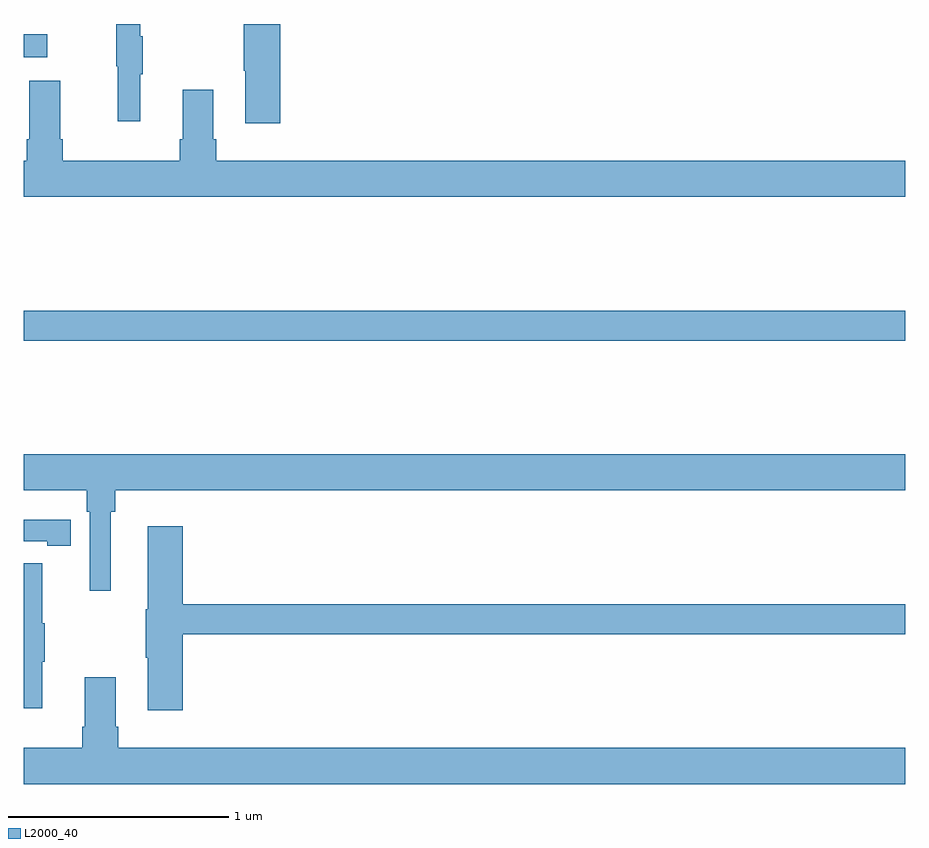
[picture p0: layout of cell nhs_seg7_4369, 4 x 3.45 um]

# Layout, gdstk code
import gdstk
lib = gdstk.Library(unit=1e-6, precision=1e-09)
def R(c, l, rs):  # rectangles x0, y0, x1, y1
    for r in rs: c.add(gdstk.rectangle(r[:2], r[2:], *l))
def P(c, l, *ps):  # polygons
    for p in ps: c.add(gdstk.Polygon(p, *l))
L2000_40 = (2000, 40)

nhs_seg7_4369 = lib.new_cell('nhs_seg7_4369')
R(nhs_seg7_4369, L2000_40, [(385,1066.564,389,1066.7), (385,1067.849,385.108,1067.953)])
P(nhs_seg7_4369, L2000_40, [(386.165,1068),(385.999,1068),(385.999,1067.788),(386.006,1067.788),(386.006,1067.55),(386.165,1067.55)],
  [(385.529,1067.771),(385.54,1067.771),(385.54,1067.945),(385.529,1067.945),(385.529,1068),(385.419,1068),(385.419,1067.808),(385.426,1067.808),(385.426,1067.559),(385.529,1067.559)],
  [(389,1067.38),(385.874,1067.38),(385.874,1067.476),(385.861,1067.476),(385.861,1067.701),(385.721,1067.701),(385.721,1067.476),(385.709,1067.476),(385.709,1067.38),(385.178,1067.38),(385.178,1067.476),(385.165,1067.476),(385.165,1067.743),(385.025,1067.743),(385.025,1067.476),(385.013,1067.476),(385.013,1067.38),(385,1067.38),(385,1067.216),(389,1067.216)],
  [(385.396,1065.788),(385.415,1065.788),(385.415,1065.884),(389,1065.884),(389,1066.048),(385,1066.048),(385,1065.884),(385.286,1065.884),(385.286,1065.788),(385.299,1065.788),(385.299,1065.429),(385.396,1065.429)],
  [(385.214,1065.75),(385.106,1065.75),(385.106,1065.751),(385,1065.751),(385,1065.654),(385.106,1065.654),(385.106,1065.634),(385.214,1065.634)],
  [(385.721,1065.232),(389,1065.232),(389,1065.368),(385.721,1065.368),(385.721,1065.721),(385.562,1065.721),(385.562,1065.345),(385.555,1065.345),(385.555,1065.124),(385.562,1065.124),(385.562,1064.886),(385.721,1064.886)],
  [(385.085,1065.107),(385.096,1065.107),(385.096,1065.281),(385.085,1065.281),(385.085,1065.553),(385,1065.553),(385,1064.895),(385.085,1064.895)],
  [(389,1064.716),(385.43,1064.716),(385.43,1064.812),(385.417,1064.812),(385.417,1065.037),(385.277,1065.037),(385.277,1064.812),(385.265,1064.812),(385.265,1064.716),(385,1064.716),(385,1064.552),(389,1064.552)])

lib.write_gds('nhs_seg7_4369.gds')
